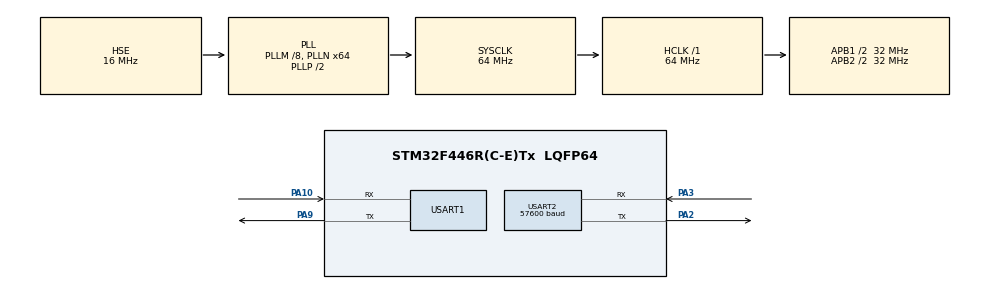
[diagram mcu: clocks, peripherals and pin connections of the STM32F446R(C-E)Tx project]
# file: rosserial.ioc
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Dma.Request0=USART1_RX
Dma.Request1=USART1_TX
Dma.Request2=USART2_RX
Dma.Request3=USART2_TX
Dma.USART1_RX.0.Direction=DMA_PERIPH_TO_MEMORY
Dma.USART1_RX.0.FIFOMode=DMA_FIFOMODE_DISABLE
Dma.USART1_RX.0.Instance=DMA2_Stream2
Dma.USART1_RX.0.MemDataAlignment=DMA_MDATAALIGN_BYTE
Dma.USART1_RX.0.MemInc=DMA_MINC_ENABLE
Dma.USART1_RX.0.Mode=DMA_CIRCULAR
Dma.USART1_RX.0.PeriphDataAlignment=DMA_PDATAALIGN_BYTE
Dma.USART1_RX.0.PeriphInc=DMA_PINC_DISABLE
Dma.USART1_RX.0.Priority=DMA_PRIORITY_LOW
Dma.USART1_TX.1.Direction=DMA_MEMORY_TO_PERIPH
Dma.USART1_TX.1.FIFOMode=DMA_FIFOMODE_DISABLE
Dma.USART1_TX.1.Instance=DMA2_Stream7
Dma.USART1_TX.1.MemDataAlignment=DMA_MDATAALIGN_BYTE
Dma.USART1_TX.1.MemInc=DMA_MINC_ENABLE
Dma.USART1_TX.1.Mode=DMA_CIRCULAR
Dma.USART1_TX.1.PeriphDataAlignment=DMA_PDATAALIGN_BYTE
Dma.USART1_TX.1.PeriphInc=DMA_PINC_DISABLE
Dma.USART1_TX.1.Priority=DMA_PRIORITY_LOW
Dma.USART2_RX.2.Direction=DMA_PERIPH_TO_MEMORY
Dma.USART2_RX.2.FIFOMode=DMA_FIFOMODE_DISABLE
Dma.USART2_RX.2.Instance=DMA1_Stream5
Dma.USART2_RX.2.MemDataAlignment=DMA_MDATAALIGN_BYTE
Dma.USART2_RX.2.MemInc=DMA_MINC_ENABLE
Dma.USART2_RX.2.Mode=DMA_CIRCULAR
Dma.USART2_RX.2.PeriphDataAlignment=DMA_PDATAALIGN_BYTE
Dma.USART2_RX.2.PeriphInc=DMA_PINC_DISABLE
Dma.USART2_RX.2.Priority=DMA_PRIORITY_LOW
Dma.USART2_TX.3.Direction=DMA_MEMORY_TO_PERIPH
Dma.USART2_TX.3.FIFOMode=DMA_FIFOMODE_DISABLE
Dma.USART2_TX.3.Instance=DMA1_Stream6
Dma.USART2_TX.3.MemDataAlignment=DMA_MDATAALIGN_BYTE
Dma.USART2_TX.3.MemInc=DMA_MINC_ENABLE
Dma.USART2_TX.3.Mode=DMA_NORMAL
Dma.USART2_TX.3.PeriphDataAlignment=DMA_PDATAALIGN_BYTE
Dma.USART2_TX.3.PeriphInc=DMA_PINC_DISABLE
Dma.USART2_TX.3.Priority=DMA_PRIORITY_LOW
Mcu.Family=STM32F4
Mcu.Name=STM32F446R(C-E)Tx
Mcu.Package=LQFP64
NVIC.DMA1_Stream5_IRQn=true\:0\:0\:false\:false\:true\:false\:true
NVIC.DMA1_Stream6_IRQn=true\:0\:0\:false\:false\:true\:false\:true
NVIC.DMA2_Stream2_IRQn=true\:0\:0\:false\:false\:true\:false\:true
NVIC.DMA2_Stream7_IRQn=true\:0\:0\:false\:false\:true\:false\:true
NVIC.PriorityGroup=NVIC_PRIORITYGROUP_4
NVIC.TIM2_IRQn=true\:0\:0\:false\:false\:true\:true\:true
NVIC.TIM6_DAC_IRQn=true\:0\:0\:false\:false\:true\:true\:true
NVIC.TIM7_IRQn=true\:0\:0\:false\:false\:true\:true\:true
NVIC.USART1_IRQn=true\:0\:0\:false\:false\:true\:true\:true
NVIC.USART2_IRQn=true\:0\:0\:false\:false\:true\:true\:true
PA10.Mode=Asynchronous
PA10.Signal=USART1_RX
PA13.Mode=Serial_Wire
PA13.Signal=SYS_JTMS-SWDIO
PA14.Mode=Serial_Wire
PA14.Signal=SYS_JTCK-SWCLK
PA2.Mode=Asynchronous
PA2.Signal=USART2_TX
PA3.Mode=Asynchronous
PA3.Signal=USART2_RX
PA9.Mode=Asynchronous
PA9.Signal=USART1_TX
PH0-OSC_IN.Mode=HSE-External-Oscillator
PH0-OSC_IN.Signal=RCC_OSC_IN
PH1-OSC_OUT.Mode=HSE-External-Oscillator
PH1-OSC_OUT.Signal=RCC_OSC_OUT
ProjectManager.HeapSize=0x200
ProjectManager.StackSize=0x400
ProjectManager.TargetToolchain=TrueSTUDIO
RCC.AHBFreq_Value=64000000
RCC.APB1CLKDivider=RCC_HCLK_DIV2
RCC.APB1Freq_Value=32000000
RCC.APB1TimFreq_Value=64000000
RCC.APB2CLKDivider=RCC_HCLK_DIV2
RCC.APB2Freq_Value=32000000
RCC.APB2TimFreq_Value=64000000
RCC.CortexFreq_Value=64000000
RCC.HCLKFreq_Value=64000000
RCC.HSE_VALUE=16000000
RCC.PLLM=8
RCC.PLLN=64
RCC.PLLSourceVirtual=RCC_PLLSOURCE_HSE
RCC.SYSCLKFreq_VALUE=64000000
RCC.SYSCLKSource=RCC_SYSCLKSOURCE_PLLCLK
RCC.USBFreq_Value=64000000
RCC.VCOOutputFreq_Value=128000000
TIM2.Period=0xFFFFFFFF
TIM2.Prescaler=64000-1
USART1.VirtualMode=VM_ASYNC
USART2.BaudRate=57600
USART2.VirtualMode=VM_ASYNC
VP_TIM2_VS_ClockSourceINT.Mode=Internal
VP_TIM6_VS_ClockSourceINT.Mode=Enable_Timer
VP_TIM7_VS_ClockSourceINT.Mode=Enable_Timer
board=custom

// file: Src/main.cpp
/* USER CODE BEGIN Header */
/**
  ******************************************************************************
  * @file           : main.c
  * @brief          : Main program body
  ******************************************************************************
  * @attention
  *
  * <h2><center>&copy; Copyright (c) 2019 STMicroelectronics.
  * All rights reserved.</center></h2>
  *
  * This software component is licensed by ST under BSD 3-Clause license,
  * the "License"; You may not use this file except in compliance with the
  * License. You may obtain a copy of the License at:
  *                        opensource.org/licenses/BSD-3-Clause
  *
  ******************************************************************************
  */
/* USER CODE END Header */

#include "main.h"
#include "dma.h"
#include "tim.h"
#include "usart.h"
#include "gpio.h"

/* USER CODE BEGIN Includes */
#include <ros.h>
#include <ros/time.h>
#include <std_msgs/String.h>
#include <std_msgs/Int16.h>
#include <sensor_msgs/Imu.h>
#include <sensor_msgs/BatteryState.h>
#include <std_msgs/Header.h>
/* USER CODE END Includes */

/* USER CODE BEGIN PV */
ros::NodeHandle nh;

std_msgs::String str_msg;

ros::Publisher pub_chat("chatter", &str_msg);

char hello[] = "Hello world!";

void HAL_UART_TxCpltCallback(UART_HandleTypeDef *huart){
  nh.getHardware()->flush();
}

void HAL_UART_RxCpltCallback(UART_HandleTypeDef *huart){
  nh.getHardware()->reset_rbuf();
}
/* USER CODE END PV */

void SystemClock_Config(void);

int main(void)
{

  /* MCU Configuration--------------------------------------------------------*/

  /* Reset of all peripherals, Initializes the Flash interface and the Systick. */
  HAL_Init();

  /* Configure the system clock */
  SystemClock_Config();

  /* Initialize all configured peripherals */
  MX_GPIO_Init();
  MX_DMA_Init();
  MX_TIM6_Init();
  MX_TIM7_Init();
  MX_USART1_UART_Init();
  MX_USART2_UART_Init();
  MX_TIM2_Init();
  /* USER CODE BEGIN 2 */

  nh.initNode();
  nh.advertise(pub_chat);
  //nh.advertise(pub_bat);
  /* USER CODE END 2 */

  /* Infinite loop */
  while (1)
  {

    /* USER CODE BEGIN 3 */
	  str_msg.data = hello;
	  hello[11]++;
	  if(hello[11] > 127)
		  hello[11] = 0;

	  pub_chat.publish(&str_msg);
	  nh.spinOnce();

	  HAL_Delay(1000);
  }
  /* USER CODE END 3 */
}

void SystemClock_Config(void)
{
  RCC_OscInitTypeDef RCC_OscInitStruct = {0};
  RCC_ClkInitTypeDef RCC_ClkInitStruct = {0};

  /** Configure the main internal regulator output voltage
  */
  __HAL_RCC_PWR_CLK_ENABLE();
  __HAL_PWR_VOLTAGESCALING_CONFIG(PWR_REGULATOR_VOLTAGE_SCALE3);
  /** Initializes the CPU, AHB and APB busses clocks
  */
  RCC_OscInitStruct.OscillatorType = RCC_OSCILLATORTYPE_HSE;
  RCC_OscInitStruct.HSEState = RCC_HSE_ON;
  RCC_OscInitStruct.PLL.PLLState = RCC_PLL_ON;
  RCC_OscInitStruct.PLL.PLLSource = RCC_PLLSOURCE_HSE;
  RCC_OscInitStruct.PLL.PLLM = 8;
  RCC_OscInitStruct.PLL.PLLN = 64;
  RCC_OscInitStruct.PLL.PLLP = RCC_PLLP_DIV2;
  RCC_OscInitStruct.PLL.PLLQ = 2;
  RCC_OscInitStruct.PLL.PLLR = 2;
  if (HAL_RCC_OscConfig(&RCC_OscInitStruct) != HAL_OK)
  {
    Error_Handler();
  }
  /** Initializes the CPU, AHB and APB busses clocks
  */
  RCC_ClkInitStruct.ClockType = RCC_CLOCKTYPE_HCLK|RCC_CLOCKTYPE_SYSCLK
                              |RCC_CLOCKTYPE_PCLK1|RCC_CLOCKTYPE_PCLK2;
  RCC_ClkInitStruct.SYSCLKSource = RCC_SYSCLKSOURCE_PLLCLK;
  RCC_ClkInitStruct.AHBCLKDivider = RCC_SYSCLK_DIV1;
  RCC_ClkInitStruct.APB1CLKDivider = RCC_HCLK_DIV2;
  RCC_ClkInitStruct.APB2CLKDivider = RCC_HCLK_DIV2;

  if (HAL_RCC_ClockConfig(&RCC_ClkInitStruct, FLASH_LATENCY_2) != HAL_OK)
  {
    Error_Handler();
  }
}

void Error_Handler(void)
{
}

/************************ (C) COPYRIGHT STMicroelectronics *****END OF FILE****/
